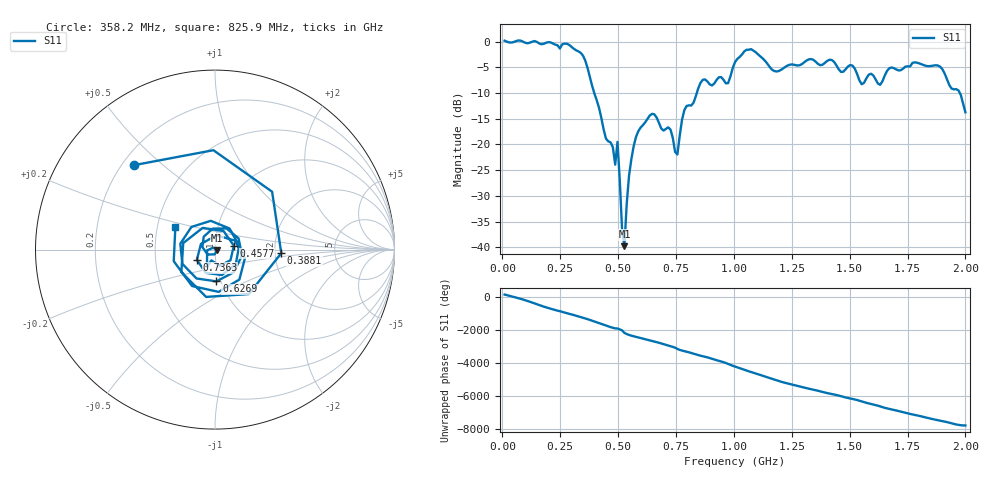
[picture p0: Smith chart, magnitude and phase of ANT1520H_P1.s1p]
!Created with skrf (http://scikit-rf.org).
# Hz S RI R 50.0
!freq ReS11 ImS11
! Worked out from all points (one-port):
!   201 points, 10 MHz to 2 GHz, reference 50 ohm
!   lowest |S11| = -39.8 dB at 527.4 MHz (marker M1), VSWR 1.02, Z = 50.9 - j0.419 ohm
!   |S11| at or under -10 dB: 397.2 MHz to 840 MHz (442.9 MHz wide, 71.6 % of centre); 1.976 GHz to end of sweep
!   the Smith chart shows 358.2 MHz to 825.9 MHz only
!   S11 on the Smith chart (normalised r, x): 358.2 MHz: 0.25, +0.40; 388.1 MHz: 2.17, -0.10; 457.8 MHz: 1.23, +0.05; 626.9 MHz: 0.95, -0.35; 736.4 MHz: 0.81, -0.09; 825.9 MHz: 0.62, +0.17
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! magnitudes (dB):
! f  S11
! 10 MHz  0.2
! 258.8 MHz  -0.6
! 358.2 MHz  -3.7
! 388.1 MHz  -8.6
! 457.8 MHz  -19.4
! 487.6 MHz  -23.9
! 497.6 MHz  -19.5
! 507.5 MHz  -27.1
! 517.5 MHz  -36.7
! 527.4 MHz  -39.8
! 547.3 MHz  -26.1
! 567.2 MHz  -20.4
! 626.9 MHz  -15.0
! 736.4 MHz  -18.7
! 756.2 MHz  -21.9
! 786.1 MHz  -13.3
! 825.9 MHz  -11.9
! 865.7 MHz  -7.4
! 975.1 MHz  -8.1
! 1.005 GHz  -4.0
! 1.075 GHz  -1.5
! 1.174 GHz  -5.7
! 1.254 GHz  -4.5
! 1.502 GHz  -4.6
! 1.632 GHz  -8.4
! 1.751 GHz  -4.8
! 1.891 GHz  -4.9
! 2 GHz  -13.8
